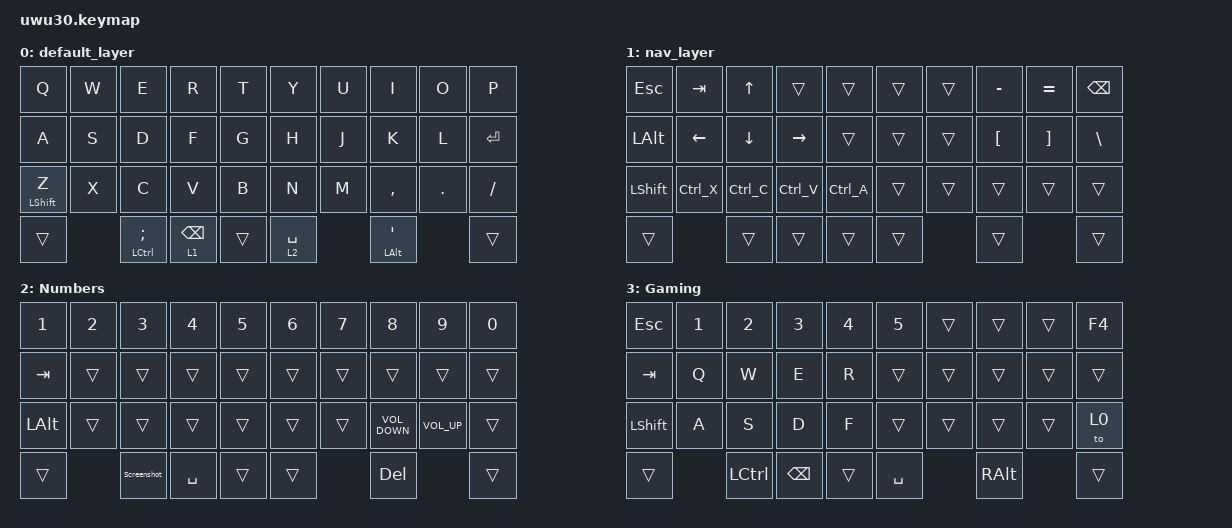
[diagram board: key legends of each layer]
/*
 * Copyright (c) 2023 The ZMK Contributors
 *
 * SPDX-License-Identifier: MIT
 */

#include <behaviors.dtsi>
#include <dt-bindings/zmk/keys.h>

/ {
    combos {
        compatible = "zmk,combos";

        combo_mo1 {
            timeout-ms = <100>;
            key-positions = <34 9>;
            bindings = <&mo 1>;
        };

        combo_mo2 {
            timeout-ms = <100>;
            key-positions = <19 34>;
            bindings = <&mo 2>;
        };

        Reset {
            bindings = <&bootloader>;
            key-positions = <8 18 1 11>;
        };

        Tab {
            bindings = <&kp TAB>;
            key-positions = <0 1>;
        };

        Caps_Lock {
            bindings = <&kp CAPSLOCK>;
            key-positions = <10 11>;
        };

        Hyphen {
            bindings = <&kp MINUS>;
            key-positions = <6 7>;
        };

        Underscore {
            bindings = <&kp UNDER>;
            key-positions = <7 8>;
        };

        Plus {
            bindings = <&kp PLUS>;
            key-positions = <8 17>;
        };

        Equals {
            bindings = <&kp EQUAL>;
            key-positions = <8 18>;
        };

        L_Parentheses {
            bindings = <&kp LEFT_PARENTHESIS>;
            key-positions = <17 27>;
        };

        R_Parentheses {
            bindings = <&kp RIGHT_PARENTHESIS>;
            key-positions = <18 28>;
        };

        Gaming {
            bindings = <&tog 3>;
            key-positions = <34 29>;
        };
    };
};

&mt { tapping-term-ms = <400>; };

/ {
    macros {
        Ctrl_C: Ctrl_C {
            compatible = "zmk,behavior-macro";
            #binding-cells = <0>;
            bindings = <&kp LC(C)>;
            label = "CTRL_C";
        };

        Ctrl_Z: Ctrl_Z {
            compatible = "zmk,behavior-macro";
            #binding-cells = <0>;
            bindings = <&kp LC(Z)>;
            label = "CTRL_Z";
        };

        Ctrl_A: Ctrl_A {
            compatible = "zmk,behavior-macro";
            #binding-cells = <0>;
            bindings = <&kp LC(A)>;
            label = "CTRL_A";
        };

        Ctrl_X: Ctrl_X {
            compatible = "zmk,behavior-macro";
            #binding-cells = <0>;
            bindings = <&kp LC(X)>;
            label = "CTRL_X";
        };

        Screenshot: Screenshot {
            compatible = "zmk,behavior-macro";
            #binding-cells = <0>;
            bindings = <&kp LS(LG(S))>;
            label = "SCREENSHOT";
        };

        Ctrl_V: Ctrl_V {
            compatible = "zmk,behavior-macro";
            #binding-cells = <0>;
            bindings = <&kp LC(V)>;
            label = "CTRL_V";
        };
    };

    keymap {
        compatible = "zmk,keymap";

        default_layer {
            bindings = <
&kp Q             &kp W  &kp E                  &kp R            &kp T   &kp Y        &kp U  &kp I                    &kp O    &kp P
&kp A             &kp S  &kp D                  &kp F            &kp G   &kp H        &kp J  &kp K                    &kp L    &kp ENTER
&mt LEFT_SHIFT Z  &kp X  &kp C                  &kp V            &kp B   &kp N        &kp M  &kp COMMA                &kp DOT  &kp SLASH
&trans                   &mt LEFT_CONTROL SEMI  &lt 1 BACKSPACE  &trans  &lt 2 SPACE         &mt LEFT_ALT APOSTROPHE           &trans
            >;
        };

        nav_layer {
            bindings = <
&kp ESC         &kp TAB         &kp UP_ARROW    &trans     &trans   &trans  &trans  &kp MINUS         &kp EQUAL          &kp BACKSPACE
&kp LEFT_ALT    &kp LEFT_ARROW  &kp DOWN_ARROW  &kp RIGHT  &trans   &trans  &trans  &kp LEFT_BRACKET  &kp RIGHT_BRACKET  &kp BACKSLASH
&kp LEFT_SHIFT  &Ctrl_X         &Ctrl_C         &Ctrl_V    &Ctrl_A  &trans  &trans  &trans            &trans             &trans
&trans                          &trans          &trans     &trans   &trans          &trans                               &trans
            >;
        };

        Numbers {
            bindings = <
&kp N1        &kp N2  &kp N3       &kp N4     &kp N5  &kp N6  &kp N7  &kp N8             &kp N9           &kp N0
&kp TAB       &trans  &trans       &trans     &trans  &trans  &trans  &trans             &trans           &trans
&kp LEFT_ALT  &trans  &trans       &trans     &trans  &trans  &trans  &kp C_VOLUME_DOWN  &kp C_VOLUME_UP  &trans
&trans                &Screenshot  &kp SPACE  &trans  &trans          &kp DELETE                          &trans
            >;
        };

        Gaming {
            bindings = <
&kp ESC         &kp NUMBER_1  &kp NUMBER_2      &kp NUMBER_3   &kp NUMBER_4  &kp N5     &trans  &trans         &trans  &kp F4
&kp TAB         &kp Q         &kp W             &kp E          &kp R         &trans     &trans  &trans         &trans  &trans
&kp LEFT_SHIFT  &kp A         &kp S             &kp D          &kp F         &trans     &trans  &trans         &trans  &to 0
&trans                        &kp LEFT_CONTROL  &kp BACKSPACE  &trans        &kp SPACE          &kp RIGHT_ALT          &trans
            >;
        };
    };
};
